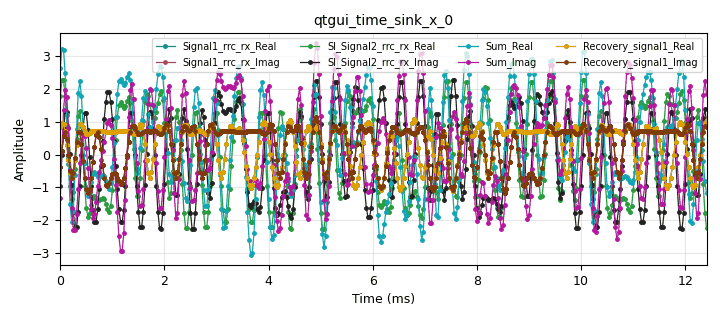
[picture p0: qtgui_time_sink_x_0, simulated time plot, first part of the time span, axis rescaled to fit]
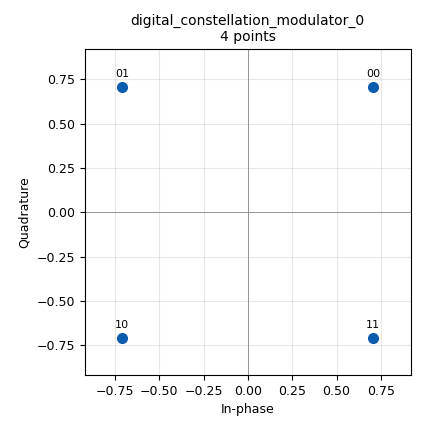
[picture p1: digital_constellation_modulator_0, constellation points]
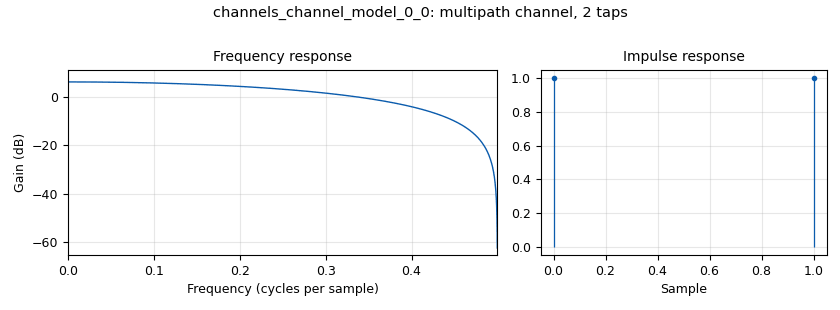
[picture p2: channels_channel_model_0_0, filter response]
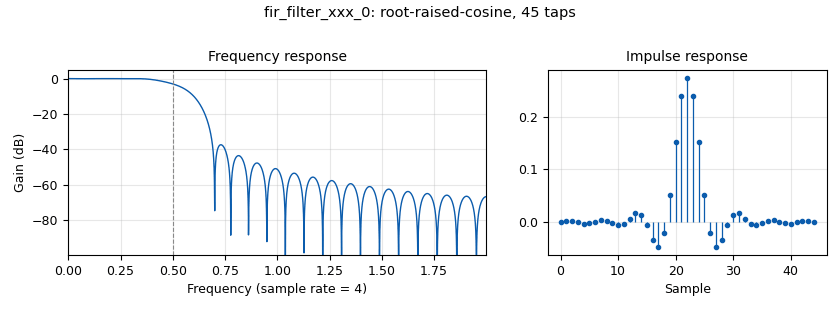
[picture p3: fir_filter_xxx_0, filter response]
<?xml version='1.0' encoding='utf-8'?>
<?grc format='1' created='3.7.10'?>
<flow_graph>
<block>
<key>options</key>
<param><key>id</key><value>Recovery_principle</value></param>
<param><key>category</key><value>Custom</value></param>
<param><key>generate_options</key><value>qt_gui</value></param>
</block>
<block>
<key>variable</key>
<param><key>id</key><value>SI_channel_taps</value></param>
<param><key>value</key><value>[1.0 + 0.0j, 1+0j]</value></param>
</block>
<block>
<key>variable_qtgui_range</key>
<param><key>id</key><value>SI_noise</value></param>
<param><key>value</key><value>0.0001</value></param>
<param><key>gui_hint</key><value>0,3,1,1</value></param>
<param><key>label</key><value>SI_noise</value></param>
<param><key>orient</key><value>Qt.Vertical</value></param>
<param><key>start</key><value>0</value></param>
<param><key>step</key><value>0.01</value></param>
<param><key>stop</key><value>1</value></param>
</block>
<block>
<key>variable</key>
<param><key>id</key><value>arity</value></param>
<param><key>value</key><value>4</value></param>
</block>
<block>
<key>variable</key>
<param><key>id</key><value>eb</value></param>
<param><key>value</key><value>0.25</value></param>
</block>
<block>
<key>variable</key>
<param><key>id</key><value>excess_bw</value></param>
<param><key>value</key><value>0.35</value></param>
</block>
<block>
<key>variable_qtgui_range</key>
<param><key>id</key><value>freq_offset</value></param>
<param><key>value</key><value>0</value></param>
<param><key>gui_hint</key><value>0,1,1,1</value></param>
<param><key>label</key><value>Frequency Offset</value></param>
<param><key>orient</key><value>Qt.Horizontal</value></param>
<param><key>start</key><value>-0.1</value></param>
<param><key>step</key><value>0.001</value></param>
<param><key>stop</key><value>0.1</value></param>
</block>
<block>
<key>variable</key>
<param><key>id</key><value>nfilts</value></param>
<param><key>value</key><value>32</value></param>
</block>
<block>
<key>variable_qtgui_range</key>
<param><key>id</key><value>noise_volt</value></param>
<param><key>value</key><value>0.0001</value></param>
<param><key>gui_hint</key><value>0,0,1,1</value></param>
<param><key>label</key><value>Noise Voltage</value></param>
<param><key>orient</key><value>Qt.Vertical</value></param>
<param><key>start</key><value>0</value></param>
<param><key>step</key><value>0.01</value></param>
<param><key>stop</key><value>1</value></param>
</block>
<block>
<key>variable</key>
<param><key>id</key><value>ntaps</value></param>
<param><key>value</key><value>45</value></param>
</block>
<block>
<key>variable_constellation_rect</key>
<param><key>id</key><value>qpsk</value></param>
<param><key>const_points</key><value>[0.707+0.707j, -0.707+0.707j, -0.707-0.707j, 0.707-0.707j]</value></param>
<param><key>imag_sect</key><value>2</value></param>
<param><key>real_sect</key><value>2</value></param>
<param><key>rot_sym</key><value>4</value></param>
<param><key>sym_map</key><value>[0, 1, 2, 3]</value></param>
<param><key>w_imag_sect</key><value>1</value></param>
<param><key>w_real_sect</key><value>1</value></param>
</block>
<block>
<key>variable</key>
<param><key>id</key><value>rrc_rx</value></param>
<param><key>value</key><value>firdes.root_raised_cosine(1.0, sps, 1, excess_bw, ntaps)</value></param>
</block>
<block>
<key>variable</key>
<param><key>id</key><value>rrc_taps</value></param>
<param><key>value</key><value>firdes.root_raised_cosine(nfilts, nfilts, 1.0/float(sps), 0.35, 45*nfilts)</value></param>
</block>
<block>
<key>variable</key>
<param><key>id</key><value>samp_rate</value></param>
<param><key>value</key><value>32000</value></param>
</block>
<block>
<key>variable</key>
<param><key>id</key><value>sps</value></param>
<param><key>value</key><value>4</value></param>
</block>
<block>
<key>variable</key>
<param><key>id</key><value>taps</value></param>
<param><key>_enabled</key><value>False</value></param>
<param><key>value</key><value>[1.0, 0.25-0.25j, 0.50 + 0.10j, -0.3 + 0.2j]</value></param>
</block>
<block>
<key>variable</key>
<param><key>id</key><value>taps</value></param>
<param><key>value</key><value>[1.0 + 0.0j, ]</value></param>
</block>
<block>
<key>variable_qtgui_range</key>
<param><key>id</key><value>time_offset</value></param>
<param><key>value</key><value>1.00</value></param>
<param><key>gui_hint</key><value>0,2,1,1</value></param>
<param><key>label</key><value>Timing Offset</value></param>
<param><key>orient</key><value>Qt.Horizontal</value></param>
<param><key>start</key><value>0.999</value></param>
<param><key>step</key><value>0.0001</value></param>
<param><key>stop</key><value>1.001</value></param>
</block>
<block>
<key>variable_qtgui_range</key>
<param><key>id</key><value>timing_loop_bw</value></param>
<param><key>value</key><value>6.28/100.0</value></param>
<param><key>gui_hint</key><value>0,4,1,1</value></param>
<param><key>label</key><value>Time: BW</value></param>
<param><key>orient</key><value>Qt.Horizontal</value></param>
<param><key>start</key><value>0.0</value></param>
<param><key>step</key><value>0.01</value></param>
<param><key>stop</key><value>0.2</value></param>
<param><key>widget</key><value>slider</value></param>
</block>
<block>
<key>analog_random_source_x</key>
<param><key>id</key><value>analog_random_source_x_0</value></param>
<param><key>_enabled</key><value>0</value></param>
<param><key>max</key><value>256</value></param>
<param><key>min</key><value>0</value></param>
<param><key>num_samps</key><value>10000</value></param>
<param><key>type</key><value>byte</value></param>
<param><key>repeat</key><value>True</value></param>
</block>
<block>
<key>blocks_add_xx</key>
<param><key>id</key><value>blocks_add_xx_0</value></param>
<param><key>type</key><value>complex</value></param>
</block>
<block>
<key>blocks_add_xx</key>
<param><key>id</key><value>blocks_add_xx_1</value></param>
<param><key>type</key><value>complex</value></param>
</block>
<block>
<key>blocks_file_sink</key>
<param><key>id</key><value>blocks_file_sink_0</value></param>
<param><key>_enabled</key><value>0</value></param>
<param><key>file</key><value>/home/hanqing/gnuradio_test/test_sps/polyphase_symbol</value></param>
<param><key>type</key><value>complex</value></param>
</block>
<block>
<key>blocks_multiply_const_vxx</key>
<param><key>id</key><value>blocks_multiply_const_vxx_0</value></param>
<param><key>const</key><value>-1</value></param>
<param><key>type</key><value>complex</value></param>
</block>
<block>
<key>blocks_throttle</key>
<param><key>id</key><value>blocks_throttle_0</value></param>
<param><key>samples_per_second</key><value>samp_rate</value></param>
<param><key>type</key><value>complex</value></param>
</block>
<block>
<key>blocks_vector_source_x</key>
<param><key>id</key><value>blocks_vector_source_x_0</value></param>
<param><key>type</key><value>byte</value></param>
<param><key>repeat</key><value>True</value></param>
<param><key>vector</key><value>(1,2,3,4,5,6,7,8,9,10,20,30,40,50,60,255)</value></param>
</block>
<block>
<key>blocks_vector_source_x</key>
<param><key>id</key><value>blocks_vector_source_x_0_0</value></param>
<param><key>type</key><value>byte</value></param>
<param><key>repeat</key><value>True</value></param>
<param><key>vector</key><value>(100,200,101,202,150)</value></param>
</block>
<block>
<key>channels_channel_model</key>
<param><key>id</key><value>channels_channel_model_0</value></param>
<param><key>epsilon</key><value>time_offset</value></param>
<param><key>freq_offset</key><value>freq_offset</value></param>
<param><key>noise_voltage</key><value>noise_volt</value></param>
<param><key>seed</key><value>0</value></param>
<param><key>taps</key><value>taps</value></param>
</block>
<block>
<key>channels_channel_model</key>
<param><key>id</key><value>channels_channel_model_0_0</value></param>
<param><key>epsilon</key><value>time_offset</value></param>
<param><key>freq_offset</key><value>freq_offset</value></param>
<param><key>noise_voltage</key><value>SI_noise</value></param>
<param><key>seed</key><value>0</value></param>
<param><key>taps</key><value>SI_channel_taps</value></param>
</block>
<block>
<key>channels_channel_model</key>
<param><key>id</key><value>channels_channel_model_0_0_0</value></param>
<param><key>epsilon</key><value>time_offset</value></param>
<param><key>freq_offset</key><value>freq_offset</value></param>
<param><key>noise_voltage</key><value>noise_volt</value></param>
<param><key>seed</key><value>0</value></param>
<param><key>taps</key><value>SI_channel_taps</value></param>
</block>
<block>
<key>digital_constellation_modulator</key>
<param><key>id</key><value>digital_constellation_modulator_0</value></param>
<param><key>constellation</key><value>qpsk</value></param>
<param><key>differential</key><value>False</value></param>
<param><key>excess_bw</key><value>excess_bw</value></param>
<param><key>samples_per_symbol</key><value>sps</value></param>
</block>
<block>
<key>digital_constellation_modulator</key>
<param><key>id</key><value>digital_constellation_modulator_0_0</value></param>
<param><key>constellation</key><value>qpsk</value></param>
<param><key>differential</key><value>True</value></param>
<param><key>excess_bw</key><value>excess_bw</value></param>
<param><key>samples_per_symbol</key><value>sps</value></param>
</block>
<block>
<key>digital_constellation_modulator</key>
<param><key>id</key><value>digital_constellation_modulator_0_0_0</value></param>
<param><key>constellation</key><value>qpsk</value></param>
<param><key>differential</key><value>True</value></param>
<param><key>excess_bw</key><value>excess_bw</value></param>
<param><key>samples_per_symbol</key><value>sps</value></param>
</block>
<block>
<key>digital_pfb_clock_sync_xxx</key>
<param><key>id</key><value>digital_pfb_clock_sync_xxx_0</value></param>
<param><key>_enabled</key><value>0</value></param>
<param><key>filter_size</key><value>nfilts</value></param>
<param><key>init_phase</key><value>nfilts/2</value></param>
<param><key>loop_bw</key><value>timing_loop_bw</value></param>
<param><key>max_dev</key><value>1.5</value></param>
<param><key>osps</key><value>1</value></param>
<param><key>sps</key><value>sps*1.001</value></param>
<param><key>taps</key><value>rrc_taps</value></param>
<param><key>type</key><value>ccf</value></param>
</block>
<block>
<key>fir_filter_xxx</key>
<param><key>id</key><value>fir_filter_xxx_0</value></param>
<param><key>decim</key><value>1</value></param>
<param><key>taps</key><value>rrc_rx</value></param>
<param><key>type</key><value>ccc</value></param>
</block>
<block>
<key>fir_filter_xxx</key>
<param><key>id</key><value>fir_filter_xxx_0_0</value></param>
<param><key>decim</key><value>1</value></param>
<param><key>taps</key><value>rrc_rx</value></param>
<param><key>type</key><value>ccc</value></param>
</block>
<block>
<key>fir_filter_xxx</key>
<param><key>id</key><value>fir_filter_xxx_0_0_0</value></param>
<param><key>decim</key><value>1</value></param>
<param><key>taps</key><value>rrc_rx</value></param>
<param><key>type</key><value>ccc</value></param>
</block>
<block>
<key>qtgui_time_sink_x</key>
<param><key>id</key><value>qtgui_time_sink_x_0</value></param>
<param><key>color1</key><value>"dark red"</value></param>
<param><key>label1</key><value>Signal1_rrc_rx_Real</value></param>
<param><key>marker1</key><value>0</value></param>
<param><key>color2</key><value>"red"</value></param>
<param><key>label2</key><value>Signal1_rrc_rx_Imag</value></param>
<param><key>marker2</key><value>0</value></param>
<param><key>color3</key><value>"green"</value></param>
<param><key>label3</key><value>SI_Signal2_rrc_rx_Real</value></param>
<param><key>marker3</key><value>0</value></param>
<param><key>color4</key><value>"black"</value></param>
<param><key>label4</key><value>SI_Signal2_rrc_rx_Imag</value></param>
<param><key>marker4</key><value>0</value></param>
<param><key>color5</key><value>"cyan"</value></param>
<param><key>label5</key><value>Sum_Real</value></param>
<param><key>marker5</key><value>0</value></param>
<param><key>color6</key><value>"magenta"</value></param>
<param><key>label6</key><value>Sum_Imag</value></param>
<param><key>marker6</key><value>0</value></param>
<param><key>color7</key><value>"yellow"</value></param>
<param><key>label7</key><value>Recovery_signal1_Real</value></param>
<param><key>marker7</key><value>0</value></param>
<param><key>color8</key><value>"Dark Blue"</value></param>
<param><key>label8</key><value>Recovery_signal1_Imag</value></param>
<param><key>marker8</key><value>0</value></param>
<param><key>nconnections</key><value>4</value></param>
<param><key>size</key><value>1024</value></param>
<param><key>srate</key><value>samp_rate</value></param>
<param><key>type</key><value>complex</value></param>
</block>
<connection><source_block_id>analog_random_source_x_0</source_block_id><sink_block_id>digital_constellation_modulator_0</sink_block_id><source_key>0</source_key><sink_key>0</sink_key></connection>
<connection><source_block_id>blocks_add_xx_0</source_block_id><sink_block_id>blocks_add_xx_1</sink_block_id><source_key>0</source_key><sink_key>0</sink_key></connection>
<connection><source_block_id>blocks_add_xx_0</source_block_id><sink_block_id>qtgui_time_sink_x_0</sink_block_id><source_key>0</source_key><sink_key>2</sink_key></connection>
<connection><source_block_id>blocks_add_xx_1</source_block_id><sink_block_id>qtgui_time_sink_x_0</sink_block_id><source_key>0</source_key><sink_key>3</sink_key></connection>
<connection><source_block_id>blocks_multiply_const_vxx_0</source_block_id><sink_block_id>blocks_add_xx_1</sink_block_id><source_key>0</source_key><sink_key>1</sink_key></connection>
<connection><source_block_id>blocks_throttle_0</source_block_id><sink_block_id>channels_channel_model_0</sink_block_id><source_key>0</source_key><sink_key>0</sink_key></connection>
<connection><source_block_id>blocks_vector_source_x_0</source_block_id><sink_block_id>digital_constellation_modulator_0</sink_block_id><source_key>0</source_key><sink_key>0</sink_key></connection>
<connection><source_block_id>blocks_vector_source_x_0_0</source_block_id><sink_block_id>digital_constellation_modulator_0_0</sink_block_id><source_key>0</source_key><sink_key>0</sink_key></connection>
<connection><source_block_id>blocks_vector_source_x_0_0</source_block_id><sink_block_id>digital_constellation_modulator_0_0_0</sink_block_id><source_key>0</source_key><sink_key>0</sink_key></connection>
<connection><source_block_id>channels_channel_model_0</source_block_id><sink_block_id>fir_filter_xxx_0</sink_block_id><source_key>0</source_key><sink_key>0</sink_key></connection>
<connection><source_block_id>channels_channel_model_0_0</source_block_id><sink_block_id>fir_filter_xxx_0_0</sink_block_id><source_key>0</source_key><sink_key>0</sink_key></connection>
<connection><source_block_id>channels_channel_model_0_0_0</source_block_id><sink_block_id>fir_filter_xxx_0_0_0</sink_block_id><source_key>0</source_key><sink_key>0</sink_key></connection>
<connection><source_block_id>digital_constellation_modulator_0</source_block_id><sink_block_id>blocks_throttle_0</sink_block_id><source_key>0</source_key><sink_key>0</sink_key></connection>
<connection><source_block_id>digital_constellation_modulator_0_0</source_block_id><sink_block_id>channels_channel_model_0_0</sink_block_id><source_key>0</source_key><sink_key>0</sink_key></connection>
<connection><source_block_id>digital_constellation_modulator_0_0_0</source_block_id><sink_block_id>channels_channel_model_0_0_0</sink_block_id><source_key>0</source_key><sink_key>0</sink_key></connection>
<connection><source_block_id>digital_pfb_clock_sync_xxx_0</source_block_id><sink_block_id>blocks_file_sink_0</sink_block_id><source_key>0</source_key><sink_key>0</sink_key></connection>
<connection><source_block_id>fir_filter_xxx_0</source_block_id><sink_block_id>blocks_add_xx_0</sink_block_id><source_key>0</source_key><sink_key>0</sink_key></connection>
<connection><source_block_id>fir_filter_xxx_0</source_block_id><sink_block_id>qtgui_time_sink_x_0</sink_block_id><source_key>0</source_key><sink_key>0</sink_key></connection>
<connection><source_block_id>fir_filter_xxx_0_0</source_block_id><sink_block_id>blocks_add_xx_0</sink_block_id><source_key>0</source_key><sink_key>1</sink_key></connection>
<connection><source_block_id>fir_filter_xxx_0_0</source_block_id><sink_block_id>qtgui_time_sink_x_0</sink_block_id><source_key>0</source_key><sink_key>1</sink_key></connection>
<connection><source_block_id>fir_filter_xxx_0_0_0</source_block_id><sink_block_id>blocks_multiply_const_vxx_0</sink_block_id><source_key>0</source_key><sink_key>0</sink_key></connection>
</flow_graph>
